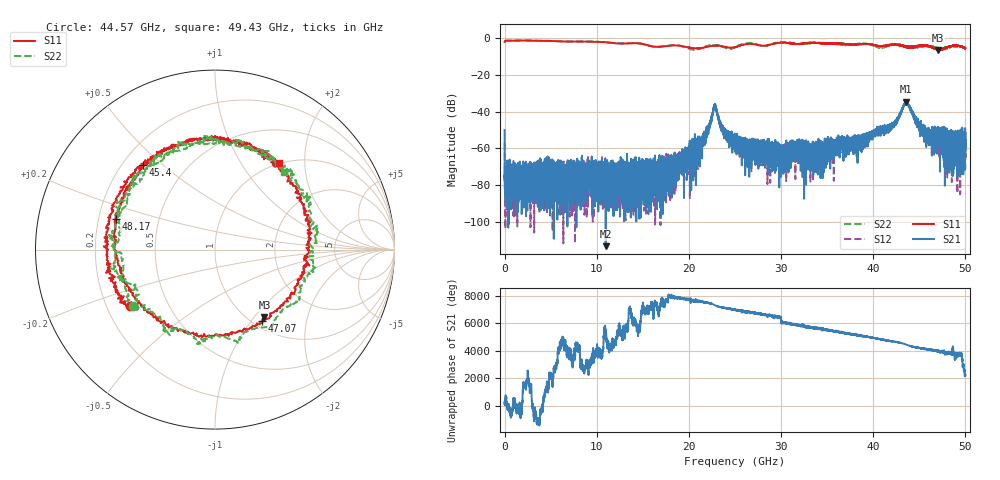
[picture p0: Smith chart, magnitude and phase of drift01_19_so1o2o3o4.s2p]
!Created with skrf (http://scikit-rf.org).
# Hz S RI R 50.0
!freq ReS11 ImS11 ReS21 ImS21 ReS12 ImS12 ReS22 ImS22
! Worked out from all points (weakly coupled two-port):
!   10001 points, 300 kHz to 50 GHz, reference 50 ohm
!   highest |S21| = -34.58 dB at 43.57 GHz (marker M1); lowest = -113.1 dB at 10.97 GHz (marker M2)
!   lowest |S11| = -6.6 dB at 47.04 GHz (marker M3), VSWR 2.75, Z = 58.6 - j56.5 ohm
!   |S11| at or under -10 dB: nowhere
!   |S22| runs from -6.6 to -1.4 dB; largest |S21 - S12| = 0.0038
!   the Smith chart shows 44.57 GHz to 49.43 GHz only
!   S11 on the Smith chart (normalised r, x): 44.57 GHz: 0.30, -0.28; 45.4 GHz: 0.28, +0.43; 47.07 GHz: 1.10, -1.13; 48.17 GHz: 0.27, +0.14; 49.43 GHz: 0.98, +1.49
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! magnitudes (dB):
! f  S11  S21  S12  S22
! 300 kHz  -2.1  -50.1  -56.9  -2.1
! 270.3 MHz  -1.4  -79.4  -76.3  -1.4
! 8.335 GHz  -1.9  -72.7  -85.1  -1.8
! 10.97 GHz  -2.3  -113.1  -85.1  -2.4
! 16.67 GHz  -4.8  -70.0  -75.5  -4.8
! 20.93 GHz  -5.6  -57.8  -66.8  -6.1
! 21.97 GHz  -4.8  -51.2  -51.0  -4.4
! 22.79 GHz  -4.3  -36.6  -36.0  -4.0
! 23.87 GHz  -4.8  -51.1  -50.8  -5.3
! 25 GHz  -5.0  -59.5  -56.1  -5.1
! 29.97 GHz  -2.6  -64.3  -60.8  -2.3
! 33.34 GHz  -2.6  -65.7  -67.0  -2.7
! 41.67 GHz  -3.9  -50.8  -49.7  -4.3
! 43.57 GHz  -5.1  -34.6  -35.0  -4.6
! 44.57 GHz  -4.9  -44.6  -45.1  -5.1
! 45.4 GHz  -4.1  -52.0  -51.2  -4.3
! 47.04 GHz  -6.6  -56.5  -50.7  -5.7
! 47.07 GHz  -6.4  -48.5  -54.1  -5.5
! 48.17 GHz  -4.7  -57.5  -65.1  -5.4
! 49.43 GHz  -4.4  -63.0  -56.9  -4.8
! 49.75 GHz  -5.1  -53.7  -58.4  -5.1
! 50 GHz  -5.6  -55.4  -71.3  -5.4
